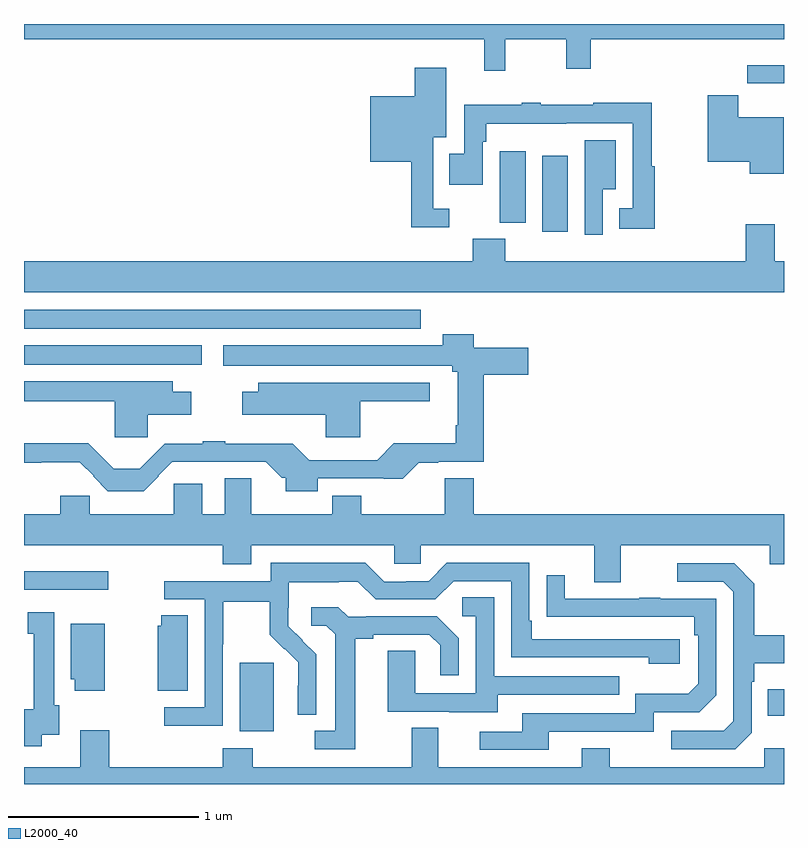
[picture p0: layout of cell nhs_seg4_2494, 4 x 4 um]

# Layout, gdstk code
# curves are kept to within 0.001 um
import gdstk
lib = gdstk.Library(unit=1e-6, precision=1e-09)
def R(c, l, rs):  # rectangles x0, y0, x1, y1
    for r in rs: c.add(gdstk.rectangle(r[:2], r[2:], *l))
def P(c, l, *ps):  # polygons
    for p in ps: c.add(gdstk.Polygon(p, *l))
L2000_40 = (2000, 40)

nhs_seg4_2494 = lib.new_cell('nhs_seg4_2494')
R(nhs_seg4_2494, L2000_40, [(242.135,793.178,242.314,793.539), (244.915,793.259,245,793.399), (241,793.923,241.444,794.02), (241,795.107,241.936,795.208), (241,795.296,243.088,795.397), (243.728,795.807,243.862,796.207), (243.503,795.854,243.64,796.231)])
P(nhs_seg4_2494, L2000_40, [(243.532,796.82),(243.855,796.82),(243.855,796.665),(243.983,796.665),(243.983,796.82),(245,796.82),(245,796.9),(241,796.9),(241,796.82),(243.422,796.82),(243.422,796.653),(243.532,796.653)],
  [(245,796.684),(244.806,796.684),(244.806,796.589),(244.915,796.589),(244.915,796.587),(245,796.587)],
  [(243.238,795.927),(243.153,795.927),(243.153,796.304),(243.223,796.304),(243.223,796.669),(243.056,796.669),(243.056,796.519),(242.822,796.519),(242.822,796.175),(243.037,796.175),(243.037,795.83),(243.238,795.83)],
  [(244.999,796.408),(244.759,796.408),(244.759,796.524),(244.598,796.524),(244.598,796.175),(244.82,796.175),(244.82,796.112),(244.999,796.112)],
  [(244.319,796.152),(244.304,796.152),(244.304,796.486),(243.996,796.486),(243.996,796.475),(243.721,796.475),(243.721,796.486),(243.621,796.486),(243.621,796.474),(243.318,796.474),(243.318,796.216),(243.238,796.216),(243.238,796.053),(243.414,796.053),(243.414,796.28),(243.434,796.28),(243.434,796.376),(243.854,796.376),(243.854,796.377),(244.203,796.377),(244.203,795.931),(244.132,795.931),(244.132,795.822),(244.319,795.822)],
  [(244.047,796.031),(244.114,796.031),(244.114,796.288),(243.951,796.288),(243.951,795.792),(244.047,795.792)],
  [(243.362,795.769),(243.362,795.652),(241,795.652),(241,795.488),(245,795.488),(245,795.652),(244.951,795.652),(244.951,795.847),(244.799,795.847),(244.799,795.652),(243.532,795.652),(243.532,795.769)],
  [(241.708,794.519),(241.706,794.522),(241.779,794.595),(242.273,794.595),(242.357,794.511),(242.378,794.511),(242.378,794.442),(242.545,794.442),(242.545,794.508),(242.994,794.507),(243.077,794.59),(243.181,794.59),(243.181,794.595),(243.419,794.595),(243.419,795.053),(243.655,795.053),(243.655,795.195),(243.368,795.195),(243.368,795.268),(243.203,795.268),(243.203,795.208),(242.049,795.208),(242.049,795.101),(243.254,795.101),(243.254,795.069),(243.284,795.069),(243.284,794.788),(243.272,794.788),(243.272,794.694),(242.947,794.694),(242.858,794.604),(242.502,794.604),(242.414,794.692),(242.06,794.692),(242.06,794.704),(241.94,794.704),(241.94,794.692),(241.741,794.692),(241.608,794.559),(241.473,794.559),(241.338,794.694),(241,794.694),(241,794.59),(241.09,794.59),(241.09,794.594),(241.294,794.594),(241.367,794.522),(241.364,794.519),(241.441,794.441),(241.631,794.441)],
  [(241.652,794.843),(241.879,794.843),(241.879,794.965),(241.783,794.965),(241.783,795.019),(241,795.019),(241,794.915),(241.478,794.915),(241.478,794.724),(241.652,794.724)],
  [(242.771,794.914),(243.136,794.914),(243.136,795.012),(242.604,795.012),(242.604,795.013),(242.234,795.013),(242.234,794.965),(242.148,794.965),(242.148,794.843),(242.588,794.843),(242.588,794.724),(242.771,794.724)],
  [(244.141,794.156),(244.925,794.156),(244.925,794.057),(245,794.057),(245,794.32),(243.368,794.32),(243.368,794.51),(243.215,794.51),(243.215,794.32),(242.775,794.32),(242.775,794.418),(242.623,794.418),(242.623,794.32),(242.197,794.32),(242.197,794.51),(242.057,794.51),(242.057,794.32),(241.939,794.32),(241.939,794.479),(241.788,794.479),(241.788,794.32),(241.346,794.32),(241.346,794.418),(241.192,794.418),(241.192,794.32),(241,794.32),(241,794.156),(242.045,794.156),(242.045,794.057),(242.197,794.057),(242.197,794.156),(242.949,794.156),(242.949,794.058),(243.087,794.058),(243.087,794.156),(244.001,794.156),(244.001,793.962),(244.141,793.962)],
  [(242.046,793.636),(242.049,793.636),(242.049,793.86),(242.293,793.86),(242.293,793.685),(242.37,793.608),(242.373,793.611),(242.444,793.541),(242.444,793.418),(242.442,793.418),(242.442,793.264),(242.538,793.264),(242.538,793.582),(242.392,793.73),(242.392,793.827),(242.394,793.827),(242.394,793.961),(242.657,793.961),(242.657,793.965),(242.757,793.965),(242.85,793.872),(243.165,793.872),(243.261,793.968),(243.564,793.968),(243.564,793.566),(244.289,793.566),(244.289,793.532),(244.45,793.532),(244.45,793.662),(243.673,793.662),(243.673,793.759),(243.66,793.759),(243.66,794.064),(243.225,794.064),(243.129,793.968),(243.011,793.968),(243.011,793.965),(242.895,793.965),(242.795,794.065),(242.298,794.065),(242.298,793.968),(241.737,793.968),(241.737,793.872),(241.95,793.872),(241.95,793.305),(241.737,793.305),(241.737,793.207),(242.046,793.207)],
  [(244.83,793.17),(244.83,793.439),(244.843,793.439),(244.843,793.535),(245,793.535),(245,793.683),(244.843,793.683),(244.843,793.955),(244.737,794.061),(244.437,794.061),(244.437,793.965),(244.68,793.965),(244.734,793.911),(244.734,793.23),(244.683,793.179),(244.407,793.179),(244.407,793.083),(244.743,793.083)],
  [(243.763,793.176),(244.314,793.176),(244.314,793.278),(244.554,793.278),(244.644,793.368),(244.644,793.875),(244.349,793.875),(244.349,793.88),(244.237,793.88),(244.237,793.875),(243.847,793.875),(243.847,793.999),(243.751,793.999),(243.751,793.78),(244.528,793.779),(244.528,793.682),(244.548,793.682),(244.548,793.428),(244.495,793.375),(244.218,793.375),(244.218,793.272),(243.623,793.272),(243.623,793.176),(243.399,793.176),(243.399,793.08),(243.763,793.08)],
  [(243.493,793.371),(244.133,793.371),(244.133,793.467),(243.474,793.467),(243.474,793.883),(243.306,793.883),(243.306,793.782),(243.378,793.782),(243.378,793.377),(243.06,793.377),(243.06,793.601),(242.915,793.601),(242.915,793.281),(243.239,793.281),(243.239,793.277),(243.493,793.277)],
  [(242.743,793.664),(242.839,793.664),(242.839,793.686),(243.134,793.686),(243.191,793.629),(243.191,793.473),(243.288,793.473),(243.288,793.666),(243.172,793.782),(242.8,793.782),(242.8,793.779),(242.706,793.779),(242.654,793.831),(242.511,793.831),(242.511,793.734),(242.592,793.734),(242.639,793.687),(242.639,793.179),(242.529,793.179),(242.529,793.083),(242.743,793.083)],
  [(241.093,793.16),(241.186,793.16),(241.186,793.314),(241.159,793.314),(241.159,793.804),(241.019,793.804),(241.019,793.691),(241.052,793.691),(241.052,793.294),(241,793.294),(241,793.1),(241.093,793.1)],
  [(241.861,793.787),(241.723,793.787),(241.723,793.734),(241.703,793.734),(241.703,793.39),(241.861,793.39)],
  [(241.426,793.744),(241.247,793.744),(241.247,793.452),(241.268,793.452),(241.268,793.392),(241.426,793.392)],
  [(245,793.087),(244.896,793.087),(244.896,792.988),(244.083,792.988),(244.083,793.087),(243.935,793.087),(243.935,792.988),(243.181,792.988),(243.181,793.196),(243.041,793.196),(243.041,792.988),(242.205,792.988),(242.205,793.087),(242.045,793.087),(242.045,792.988),(241.448,792.988),(241.448,793.183),(241.295,793.183),(241.295,792.988),(241,792.988),(241,792.9),(245,792.9)])

lib.write_gds('nhs_seg4_2494.gds')
